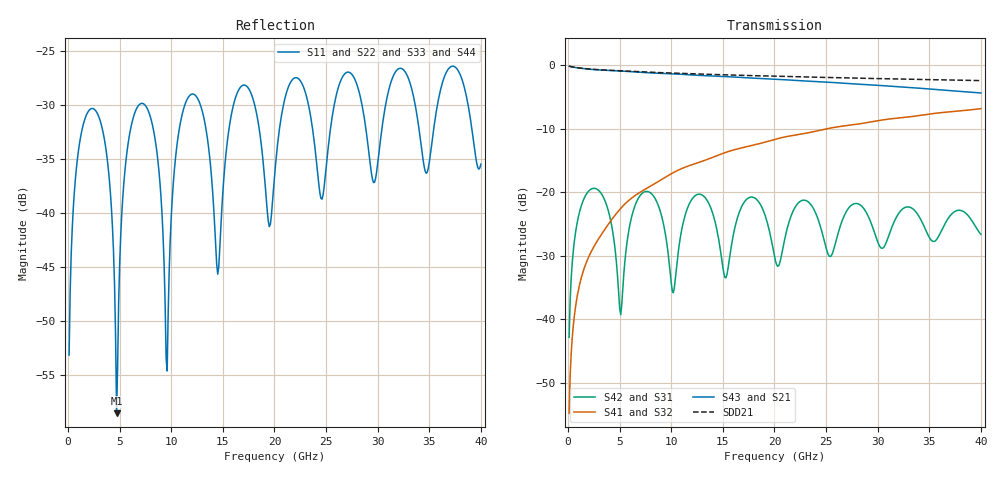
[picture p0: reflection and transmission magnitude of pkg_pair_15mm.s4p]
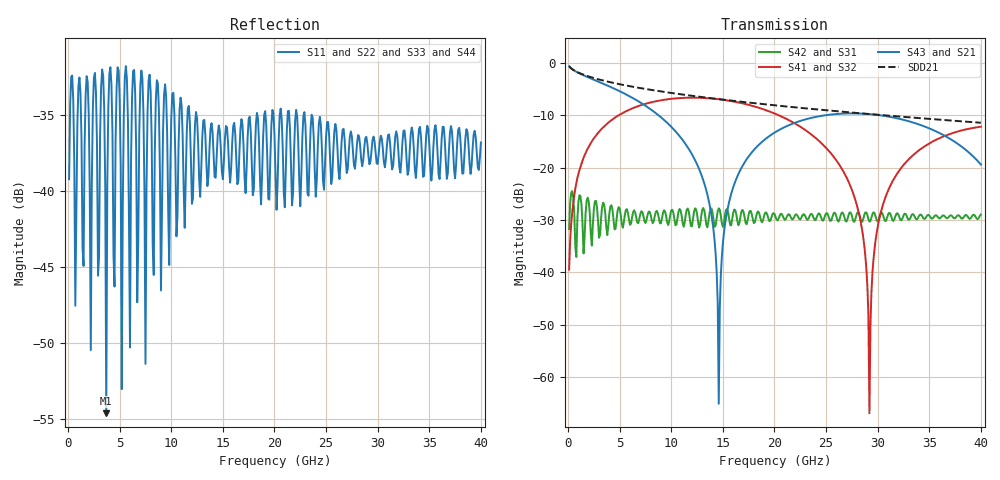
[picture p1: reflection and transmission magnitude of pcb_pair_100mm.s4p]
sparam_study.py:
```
"""S-parameter workflow on modeled coupled-line channels: Touchstone write/read, cascading,
mixed-mode conversion, passivity and causality checks, and the resulting eye.

    python experiments/sparam_study.py
"""
from __future__ import annotations

import os

import numpy as np

from common import ROOT, md_table, write_csv, write_md

from chippack import touchstone as ts
from chippack.network import (Network, cascade, causality_check, coupled_line_4port, mixed_mode,
                              passivity_violation, reciprocity_error)
from chippack.serdes import analyze_eye, ddj_from_pulse, pulse_response


def main():
    f = np.arange(1, 401) * 100e6  # 100 MHz .. 40 GHz, uniform (needed for causality/time domain)
    data = os.path.join(ROOT, "data")
    os.makedirs(data, exist_ok=True)
    pkg = coupled_line_4port(f, 0.015, z_even=58, z_odd=46, loss_db_per_m_per_sqrtghz=25.0)
    pcb = coupled_line_4port(f, 0.10, z_even=55, z_odd=48, loss_db_per_m_per_sqrtghz=18.0)
    ts.write(os.path.join(data, "pkg_pair_15mm.s4p"), pkg, "RI", "GHZ", comment="modeled coupled pair, 15 mm")
    ts.write(os.path.join(data, "pcb_pair_100mm.s4p"), pcb, "RI", "GHZ", comment="modeled coupled pair, 100 mm")
    a = ts.read(os.path.join(data, "pkg_pair_15mm.s4p"))
    b = ts.read(os.path.join(data, "pcb_pair_100mm.s4p"))
    rt_err = float(max(np.abs(a.s - pkg.s).max(), np.abs(b.s - pcb.s).max()))
    # cascade pkg + pcb + pkg (reorder to left/right port grouping first)
    order = [1, 3, 2, 4]
    chan = cascade(a.reorder(order), b.reorder(order), a.reorder(order)).reorder(order)
    # skewed variant: 3 ps extra delay on one leg of the pcb section
    sk = pcb.s.copy()
    d = np.exp(-2j * np.pi * f * 3e-12)
    sk[:, 3, 2] *= d
    sk[:, 2, 3] *= d
    skewed = cascade(a.reorder(order), Network(f, sk).reorder(order), a.reorder(order)).reorder(order)
    rows = []
    for name, net in (("pkg 15 mm", a), ("pcb 100 mm", b), ("pkg+pcb+pkg", chan), ("pkg+pcb(3 ps skew)+pkg", skewed)):
        mm = mixed_mode(net)
        sdd21 = mm["dd"][:, 1, 0]
        scd21 = mm["cd"][:, 1, 0]
        sdd11 = mm["dd"][:, 0, 0]
        pas, worst_sv = passivity_violation(net)
        caus, nc = causality_check(sdd21, f)
        row = {"network": name}
        for fq in (8e9, 16e9):
            k = int(np.argmin(np.abs(f - fq)))
            row[f"sdd21_db_{int(fq / 1e9)}g"] = float(20 * np.log10(abs(sdd21[k])))
            row[f"scd21_db_{int(fq / 1e9)}g"] = float(20 * np.log10(max(abs(scd21[k]), 1e-15)))
        row["sdd11_max_db"] = float(20 * np.log10(np.abs(sdd11).max()))
        row["passive"] = pas
        row["max_singular_value"] = worst_sv
        row["causal"] = caus
        row["noncausal_energy_ratio"] = nc
        row["reciprocity_err"] = reciprocity_error(net)
        for rate in (16e9, 32e9):
            _, p = pulse_response(f, sdd21, rate, spu=32, rise_ui=0.3)
            e = analyze_eye(p, 32, noise_rms=0.005, ber=1e-12, swing=0.8)
            row[f"eye_h_mv_{int(rate / 1e9)}g"] = 1e3 * e.stat_height
            row[f"eye_w_ui_{int(rate / 1e9)}g"] = e.stat_width_ui
            row[f"ddj_ui_{int(rate / 1e9)}g"] = ddj_from_pulse(p, 32, 7)
        rows.append(row)
        print(row)
    write_csv("sparam_study.csv", rows)
    fmt = {k: ".2f" for k in rows[0] if "db" in k} | {"max_singular_value": ".4f", "noncausal_energy_ratio": ".1e",
                                                      "reciprocity_err": ".1e"}
    fmt |= {k: ".1f" for k in rows[0] if k.startswith("eye_h")} | {k: ".3f" for k in rows[0] if "_ui_" in k}
    write_md("sparam_study.md",
             "# S-parameter workflow on modeled coupled lines\n\n"
             "All networks are analytic even/odd-mode line models written to and read back from Touchstone "
             f"(.s4p). Max round-trip error: {rt_err:.1e}. Eyes use Sdd21, 0.8 V differential swing, "
             "5 mV rms noise, BER 1e-12, 0.3 UI rise time, no equalisation.\n\n"
             "Command: `python experiments/sparam_study.py`\n\n" + md_table(rows, None, fmt))


if __name__ == "__main__":
    main()
```
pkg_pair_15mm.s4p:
! modeled coupled pair, 15 mm
# GHZ S RI R 50
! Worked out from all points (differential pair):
!   400 points, 100 MHz to 40 GHz, reference 50 ohm
!   strongest paths, dB at 100 MHz, 10.1 GHz, 20.1 GHz, 30.1 GHz, 40 GHz:
!     S43: -0.1, -1.3, -2.2, -3.1, -4.3
!     S21: -0.1, -1.3, -2.2, -3.1, -4.3
!     S41: -54.8, -17.0, -11.6, -8.7, -6.8
!     S32: -54.8, -17.0, -11.6, -8.7, -6.8
!     S42: -42.8, -35.5, -30.8, -28.2, -26.6
!     S31: -42.8, -35.5, -30.8, -28.2, -26.6
!   taken as a pair (ports 3,1 in; 4,2 out), SDD21 dB: -0.1, -1.2, -1.7, -2.1, -2.4
!   lowest |S11| = -58.5 dB at 4.7 GHz (marker M1), VSWR 1.00, Z = 50.1 - j0.0406 ohm
!   |S11| at or under -10 dB: start of sweep to end of sweep
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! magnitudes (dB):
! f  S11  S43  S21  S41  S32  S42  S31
! 100 MHz  -53.1  -0.1  -0.1  -54.8  -54.8  -42.8  -42.8
! 4.7 GHz  -58.5  -0.8  -0.8  -23.3  -23.3  -31.3  -31.3
! 40 GHz  -35.4  -4.3  -4.3  -6.8  -6.8  -26.6  -26.6
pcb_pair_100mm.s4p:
! modeled coupled pair, 100 mm
# GHZ S RI R 50
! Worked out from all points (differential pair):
!   400 points, 100 MHz to 40 GHz, reference 50 ohm
!   strongest paths, dB at 100 MHz, 10.1 GHz, 20.1 GHz, 30.1 GHz, 40 GHz:
!     S43: -0.6, -12.4, -13.2, -9.9, -19.4
!     S21: -0.6, -12.4, -13.2, -9.9, -19.4
!     S41: -39.5, -6.8, -9.7, -30.3, -12.1
!     S32: -39.5, -6.8, -9.7, -30.3, -12.1
!     S42: -31.7, -28.0, -29.4, -29.9, -28.9
!     S31: -31.7, -28.0, -29.4, -29.9, -28.9
!   taken as a pair (ports 3,1 in; 4,2 out), SDD21 dB: -0.6, -5.7, -8.1, -9.9, -11.4
!   lowest |S11| = -54.6 dB at 3.7 GHz (marker M1), VSWR 1.00, Z = 50.2 + j0.00483 ohm
!   |S11| at or under -10 dB: start of sweep to end of sweep
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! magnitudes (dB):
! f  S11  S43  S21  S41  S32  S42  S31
! 100 MHz  -39.2  -0.6  -0.6  -39.5  -39.5  -31.7  -31.7
! 3.7 GHz  -54.6  -4.2  -4.2  -11.7  -11.7  -31.3  -31.3
! 40 GHz  -36.8  -19.4  -19.4  -12.1  -12.1  -28.9  -28.9
